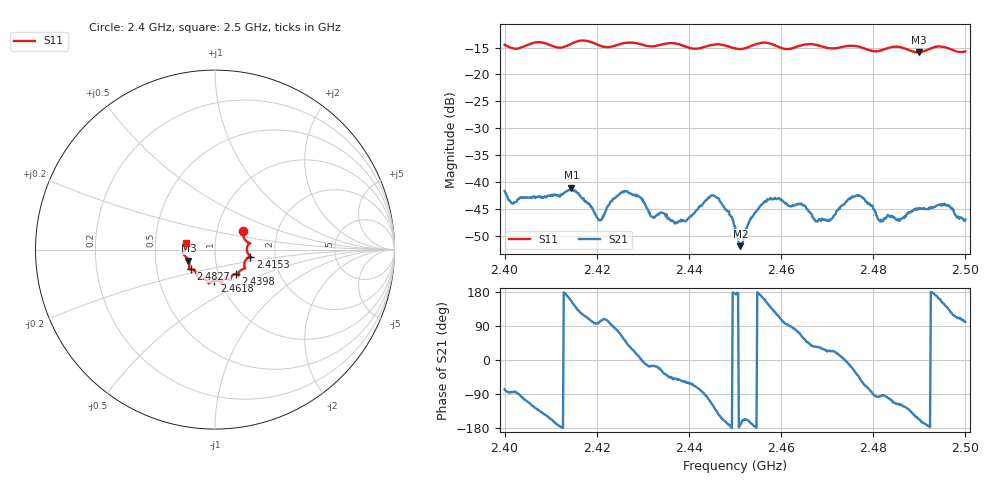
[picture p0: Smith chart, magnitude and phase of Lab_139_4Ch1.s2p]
# Hz S RI R 50
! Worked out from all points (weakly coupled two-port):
!   601 points, 2.4 GHz to 2.5 GHz, reference 50 ohm
!   highest |S21| = -41.02 dB at 2.4145 GHz (marker M1); lowest = -51.9 dB at 2.4512 GHz (marker M2)
!   lowest |S11| = -15.9 dB at 2.4898 GHz (marker M3), VSWR 1.38, Z = 36.8 - j4.63 ohm
!   |S11| at or under -10 dB: start of sweep to end of sweep
!   S12 and S22 are empty: the file has one direction only
!   S11 on the Smith chart (normalised r, x): 2.4 GHz: 1.33, +0.29; 2.4153 GHz: 1.48, -0.12; 2.4398 GHz: 1.21, -0.34; 2.4618 GHz: 0.94, -0.33; 2.4827 GHz: 0.75, -0.17; 2.5 GHz: 0.72, +0.06
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2.4e9  0.1555 0.1064  0.00181 -0.00807  0 0  0 0
2.402e9  0.1579 0.0739  0.000729 -0.00644  0 0  0 0
2.4145e9  0.1903 -0.0325  -0.0081 0.00368  0 0  0 0
2.415333e9  0.1963 -0.039  -0.00637 0.00511  0 0  0 0
2.416667e9  0.2023 -0.0429  -0.00394 0.006  0 0  0 0
2.420667e9  0.1785 -0.0502  -0.000855 0.00439  0 0  0 0
2.426e9  0.1674 -0.1018  0.00488 0.00668  0 0  0 0
2.433333e9  0.1298 -0.1341  0.00474 -0.00182  0 0  0 0
2.439833e9  0.1152 -0.1357  0.00233 -0.00396  0 0  0 0
2.445333e9  0.0841 -0.1697  -0.00399 -0.00636  0 0  0 0
2.45e9  0.0651 -0.1621  -0.00386 0.000317  0 0  0 0
2.451167e9  0.0524 -0.1642  -0.0025 -0.000437  0 0  0 0
2.4565e9  0.0389 -0.1937  -0.00625 0.00232  0 0  0 0
2.461833e9  -0.00333 -0.1728  -2.48e-05 0.00602  0 0  0 0
2.466667e9  -0.035 -0.188  0.00392 0.00307  0 0  0 0
2.4705e9  -0.0532 -0.167  0.00396 0.00185  0 0  0 0
2.476667e9  -0.0962 -0.1546  0.00563 -0.00485  0 0  0 0
2.482667e9  -0.1348 -0.1085  -0.000481 -0.00454  0 0  0 0
2.483333e9  -0.1398 -0.1083  -0.000946 -0.00478  0 0  0 0
2.489833e9  -0.1482 -0.0613  -0.00521 -0.00238  0 0  0 0
2.496e9  -0.1763 -0.0153  -0.00456 0.00392  0 0  0 0
2.5e9  -0.1595 0.0389  -0.000796 0.00442  0 0  0 0
